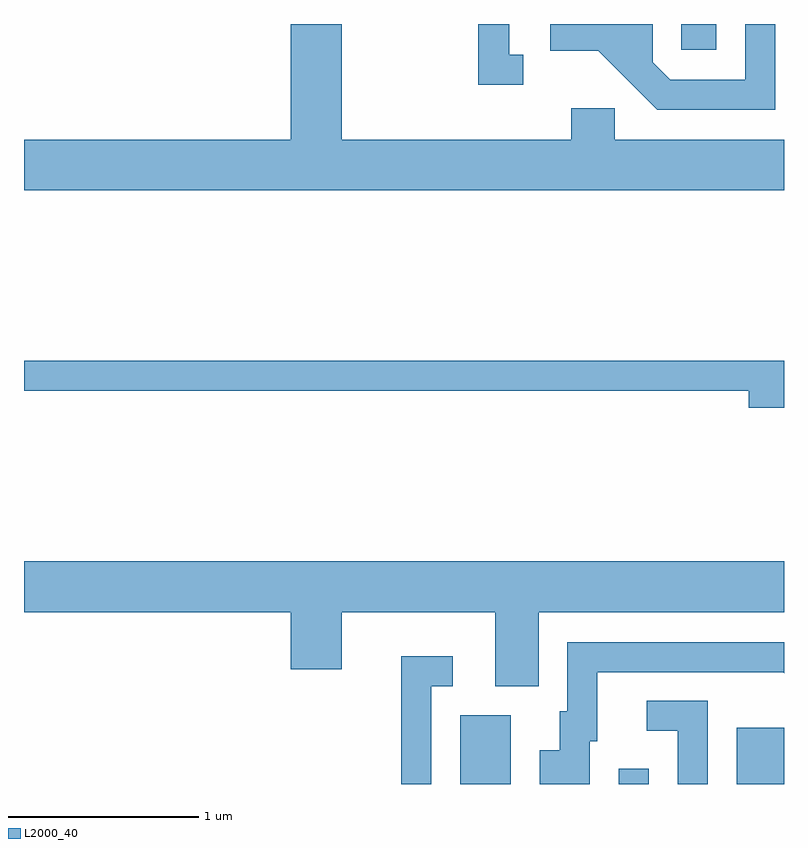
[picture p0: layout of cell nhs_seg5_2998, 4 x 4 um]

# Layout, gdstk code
import gdstk
lib = gdstk.Library(unit=1e-6, precision=1e-09)
def R(c, l, rs):  # rectangles x0, y0, x1, y1
    for r in rs: c.add(gdstk.rectangle(r[:2], r[2:], *l))
def P(c, l, *ps):  # polygons
    for p in ps: c.add(gdstk.Polygon(p, *l))
L2000_40 = (2000, 40)

nhs_seg5_2998 = lib.new_cell('nhs_seg5_2998')
R(nhs_seg5_2998, L2000_40, [(275.906,1498.072,276.174,1498.434), (276.741,1498.072,276.899,1498.153), (277.361,1498.072,277.611,1498.369), (277.071,1501.936,277.254,1502.072)])
P(nhs_seg5_2998, L2000_40, [(277.611,1501.464),(276.719,1501.464),(276.719,1501.629),(276.491,1501.629),(276.491,1501.464),(275.284,1501.464),(275.284,1502.072),(275.016,1502.072),(275.016,1501.464),(273.611,1501.464),(273.611,1501.196),(277.611,1501.196)],
  [(277.564,1502.072),(277.406,1502.072),(277.406,1501.779),(277.012,1501.779),(276.919,1501.872),(276.919,1502.072),(276.381,1502.072),(276.381,1501.931),(276.634,1501.931),(276.944,1501.621),(277.564,1501.621)],
  [(276.238,1501.909),(276.164,1501.909),(276.164,1502.072),(276.001,1502.072),(276.001,1501.751),(276.238,1501.751)],
  [(277.611,1500.299),(273.611,1500.299),(273.611,1500.141),(277.426,1500.141),(277.426,1500.051),(277.611,1500.051)],
  [(276.319,1498.976),(277.611,1498.976),(277.611,1499.244),(273.611,1499.244),(273.611,1498.976),(275.016,1498.976),(275.016,1498.676),(275.284,1498.676),(275.284,1498.976),(276.091,1498.976),(276.091,1498.586),(276.319,1498.586)],
  [(276.589,1498.296),(276.629,1498.296),(276.629,1498.661),(277.604,1498.661),(277.611,1498.654),(277.611,1498.819),(276.471,1498.819),(276.471,1498.454),(276.431,1498.454),(276.431,1498.249),(276.326,1498.249),(276.326,1498.072),(276.589,1498.072)],
  [(275.754,1498.586),(275.868,1498.586),(275.868,1498.744),(275.596,1498.744),(275.596,1498.072),(275.754,1498.072)],
  [(277.209,1498.509),(276.888,1498.509),(276.888,1498.351),(277.051,1498.351),(277.051,1498.072),(277.209,1498.072)])

lib.write_gds('nhs_seg5_2998.gds')
